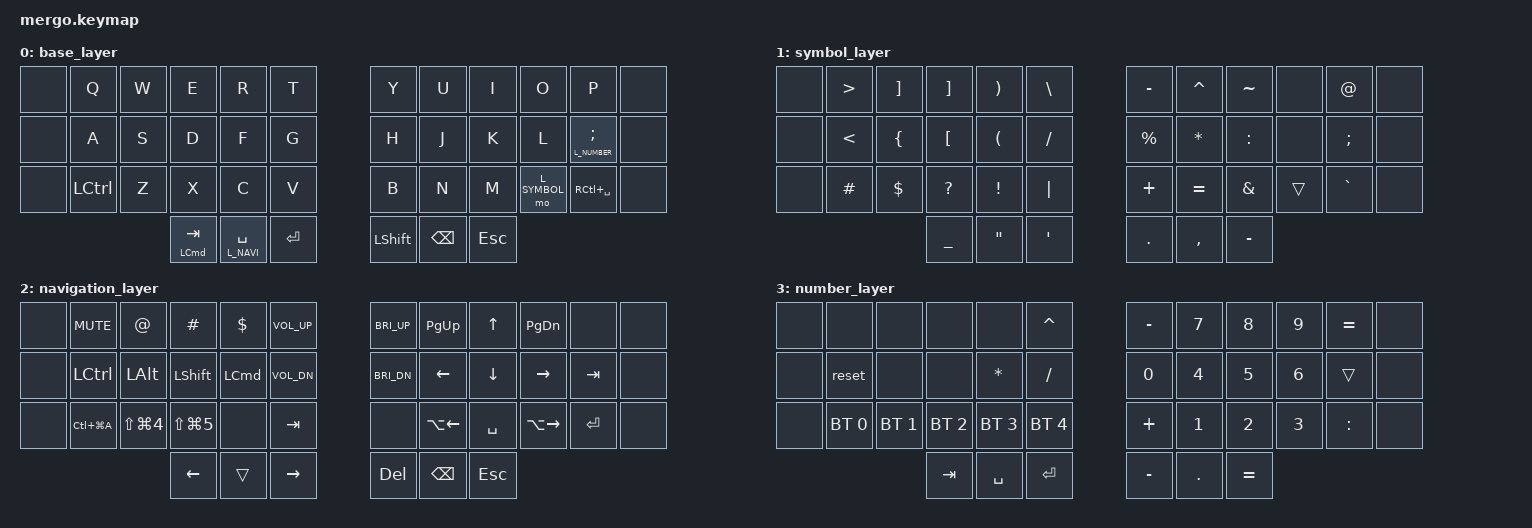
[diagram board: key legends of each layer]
/*
 * Copyright (c) 2020 The ZMK Contributors
 *
 * SPDX-License-Identifier: MIT
 */

#include <behaviors.dtsi>
#include <dt-bindings/zmk/keys.h>
#include <dt-bindings/zmk/bt.h>


#define L_BASE 0
#define L_SYMBOL   1
#define L_NAVI   2
#define L_NUMBER  3
#define BSE L_BASE
#define SYM L_SYMBOL
#define NAV L_NAVI
#define NUM L_NUMBER

#define MAC_LANG RC(SPACE)
#define MAC_SCRS LS(LG(N4)) // macOS screenshot
#define MAC_SCRR LS(LG(N5)) // macOS screenrecord
#define WC_SCRS LC(LG(A)) // wechat screenshot

&mt {
    flavor = "hold-preferred";
    tapping-term-ms = <250>;
    quick_tap_ms = <180>;
};

&lt {
    /* flavor = "balanced"; */
    quick_tap_ms = <200>;
    tapping-term-ms = <180>;
};

/ {
        combos {
           compatible = "zmk,combos";
           combo_lpar {
              timeout-ms = <50>;
              key-positions = <25 26>;
              bindings = <&kp LPAR>;
           };

           combo_rpar {
              timeout-ms = <50>;
              key-positions = <33 34>;
              bindings = <&kp RPAR>;
           };
        };

        conditional_layers {
            compatible = "zmk,conditional-layers";
            tri_layer {
                if-layers = <LOWER RAISE>;
                then-layer = <ADJUST>;
            };
        };

        keymap {
                compatible = "zmk,keymap";

                base_layer {
                        bindings = <
   &none &kp Q      &kp W      &kp E       &kp R        &kp T         &kp Y         &kp U        &kp I        &kp O      &kp P         &none
   &none &kp A      &kp S      &kp D       &kp F        &kp G         &kp H         &kp J        &kp K        &kp L      &lt NUM SEMI  &none
   &none &kp LCTRL  &kp Z      &kp X       &kp C        &kp V         &kp B         &kp N        &kp M        &mo SYM    &kp MAC_LANG  &none
                              &mt LCMD TAB &lt NAV SPACE &kp ENTER   &kp LSHFT  &kp BSPC &kp ESC
                        >;
                };
                symbol_layer {
                        bindings = <
   &none &kp GT   &kp RBKT    &kp RBKT      &kp RPAR    &kp BSLH        &kp MINUS   &kp CARET      &kp TILDE    &none    &kp AT     &none
   &none &kp LT   &kp LBRC    &kp LBKT      &kp LPAR    &kp FSLH        &kp PRCNT   &kp ASTRK      &kp COLON    &none    &kp SEMI   &none
   &none &kp HASH &kp DLLR    &kp QMARK     &kp EXCL    &kp PIPE        &kp PLUS    &kp EQUAL      &kp AMPS     &trans   &kp GRAVE  &none
                              &kp UNDER     &kp DQT     &kp SQT         &kp DOT     &kp COMMA      &kp MINUS
                        >;
                };
                navigation_layer {
                        bindings = <
   &none &kp C_MUTE  &kp AT       &kp HASH     &kp DLLR     &kp C_VOL_UP     &kp C_BRI_UP     &kp PG_UP     &kp UP      &kp PG_DN      &none      &none
   &none &kp LCTRL   &kp LALT     &kp LSHFT    &kp LCMD     &kp C_VOL_DN     &kp C_BRI_DN     &kp LEFT      &kp DOWN    &kp RIGHT      &kp TAB    &none
   &none &kp WC_SCRS &kp MAC_SCRS &kp MAC_SCRR &none        &kp TAB          &none            &kp LA(LEFT)  &kp SPACE   &kp LA(RIGHT)  &kp ENTER  &none
                                  &kp LEFT     &trans       &kp RIGHT        &kp DEL          &kp BSPC      &kp ESC
                        >;
                };
                number_layer {
                        bindings = <
   &none &none        &none        &none        &none        &kp CARET        &kp MINUS       &kp N7     &kp N8     &kp N9     &kp EQUAL  &none
   &none &reset       &none        &none        &kp ASTRK    &kp FSLH         &kp N0          &kp N4     &kp N5     &kp N6     &trans     &none
   &none &bt BT_SEL 0 &bt BT_SEL 1 &bt BT_SEL 2 &bt BT_SEL 3 &bt BT_SEL 4     &kp PLUS        &kp N1     &kp N2     &kp N3     &kp COLON  &none
                                   &kp TAB      &kp SPACE    &kp ENTER        &kp MINUS       &kp DOT    &kp EQUAL
                        >;
                };
        };
};
